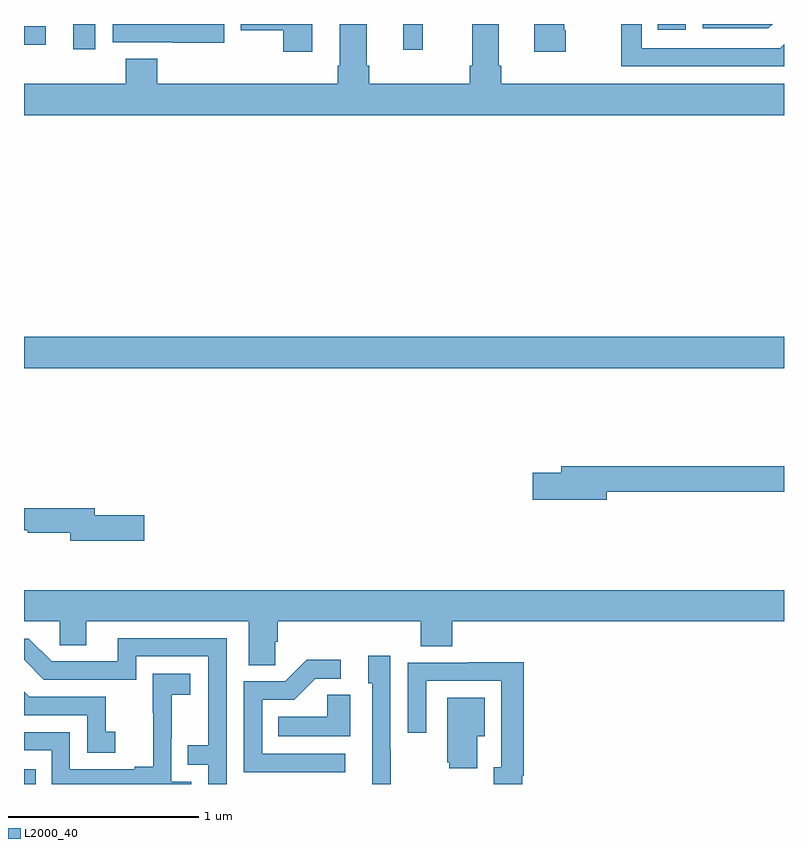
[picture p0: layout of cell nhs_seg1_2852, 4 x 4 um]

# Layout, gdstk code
import gdstk
lib = gdstk.Library(unit=1e-6, precision=1e-09)
def R(c, l, rs):  # rectangles x0, y0, x1, y1
    for r in rs: c.add(gdstk.rectangle(r[:2], r[2:], *l))
def P(c, l, *ps):  # polygons
    for p in ps: c.add(gdstk.Polygon(p, *l))
L2000_40 = (2000, 40)

nhs_seg1_2852 = lib.new_cell('nhs_seg1_2852')
R(nhs_seg1_2852, L2000_40, [(265,560.199,265.061,560.277), (265,562.388,269,562.552), (266.996,564.063,267.098,564.199), (265.259,564.066,265.374,564.199), (265,564.089,265.114,564.186), (268.336,564.168,268.482,564.199)])
P(nhs_seg1_2852, L2000_40, [(269,563.884),(267.512,563.884),(267.512,563.98),(267.499,563.98),(267.499,564.199),(267.359,564.199),(267.359,563.98),(267.347,563.98),(267.347,563.884),(266.816,563.884),(266.816,563.98),(266.803,563.98),(266.803,564.199),(266.663,564.199),(266.663,563.98),(266.651,563.98),(266.651,563.884),(265.7,563.884),(265.7,564.017),(265.535,564.017),(265.535,563.884),(265,563.884),(265,563.72),(269,563.72)],
  [(266.055,564.199),(265.959,564.199),(265.959,564.198),(265.563,564.198),(265.563,564.199),(265.467,564.199),(265.467,564.102),(265.783,564.102),(265.783,564.101),(266.055,564.101)],
  [(266.518,564.199),(266.142,564.199),(266.142,564.167),(266.365,564.167),(266.365,564.054),(266.518,564.054)],
  [(267.852,564.166),(267.844,564.166),(267.844,564.199),(267.686,564.199),(267.686,564.054),(267.852,564.054)],
  [(269,564.092),(268.98,564.072),(268.251,564.072),(268.251,564.199),(268.143,564.199),(268.143,563.976),(269,563.976)],
  [(268.94,564.199),(268.572,564.199),(268.572,564.177),(268.918,564.177)],
  [(268.066,561.736),(269,561.736),(269,561.872),(267.827,561.872),(267.827,561.836),(267.678,561.836),(267.678,561.694),(268.066,561.694)],
  [(265.633,561.614),(265.372,561.614),(265.372,561.65),(265,561.65),(265,561.534),(265.021,561.534),(265.021,561.522),(265.244,561.522),(265.244,561.479),(265.633,561.479)],
  [(266.322,560.947),(266.336,560.947),(266.336,561.056),(267.089,561.056),(267.089,560.923),(267.254,560.923),(267.254,561.056),(269,561.056),(269,561.22),(265,561.22),(265,561.056),(265.188,561.056),(265.188,560.929),(265.327,560.929),(265.327,561.056),(266.183,561.056),(266.183,560.824),(266.322,560.824)],
  [(266.067,560.967),(265.493,560.967),(265.493,560.844),(265.146,560.844),(265.026,560.964),(265,560.964),(265,560.852),(265.104,560.748),(265.59,560.748),(265.59,560.871),(265.971,560.871),(265.971,560.402),(265.861,560.402),(265.861,560.301),(265.971,560.301),(265.971,560.199),(266.067,560.199)],
  [(266.931,560.381),(266.928,560.381),(266.928,560.875),(266.813,560.875),(266.813,560.73),(266.832,560.73),(266.832,560.199),(266.931,560.199)],
  [(266.692,560.358),(266.253,560.358),(266.253,560.643),(266.422,560.643),(266.533,560.754),(266.668,560.754),(266.668,560.852),(266.489,560.852),(266.376,560.739),(266.157,560.739),(266.157,560.262),(266.692,560.262)],
  [(267.622,560.242),(267.629,560.242),(267.629,560.84),(267.337,560.84),(267.337,560.838),(267.021,560.838),(267.021,560.469),(267.117,560.469),(267.117,560.742),(267.513,560.742),(267.513,560.286),(267.473,560.286),(267.473,560.199),(267.622,560.199)],
  [(265.881,560.211),(265.776,560.211),(265.776,560.441),(265.778,560.441),(265.778,560.669),(265.876,560.669),(265.876,560.779),(265.678,560.779),(265.678,560.573),(265.679,560.573),(265.679,560.29),(265.583,560.29),(265.583,560.277),(265.242,560.277),(265.242,560.472),(265,560.472),(265,560.376),(265.146,560.376),(265.146,560.199),(265.881,560.199)],
  [(265.48,560.473),(265.431,560.473),(265.431,560.658),(265.027,560.658),(265,560.685),(265,560.562),(265.332,560.562),(265.332,560.364),(265.48,560.364)],
  [(266.716,560.669),(266.595,560.669),(266.595,560.554),(266.338,560.554),(266.338,560.45),(266.716,560.45)],
  [(267.385,560.45),(267.424,560.45),(267.424,560.653),(267.227,560.653),(267.227,560.313),(267.239,560.313),(267.239,560.282),(267.385,560.282)])

lib.write_gds('nhs_seg1_2852.gds')
